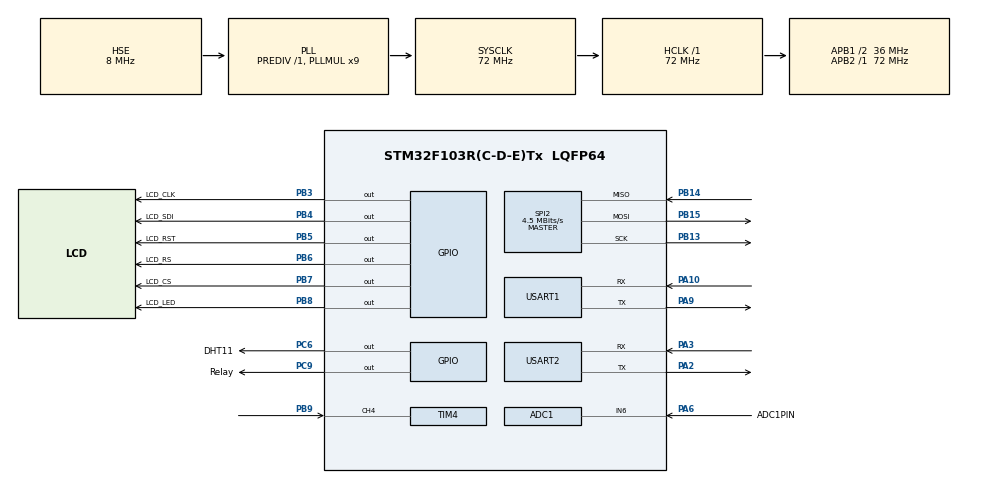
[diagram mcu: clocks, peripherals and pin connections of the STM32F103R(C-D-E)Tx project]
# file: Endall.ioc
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ADC1.Channel-0\#ChannelRegularConversion=ADC_CHANNEL_6
ADC1.NbrOfConversionFlag=1
ADC1.Rank-0\#ChannelRegularConversion=1
ADC1.SamplingTime-0\#ChannelRegularConversion=ADC_SAMPLETIME_1CYCLE_5
ADC1.master=1
Dma.Request0=USART2_RX
Dma.USART2_RX.0.Direction=DMA_PERIPH_TO_MEMORY
Dma.USART2_RX.0.Instance=DMA1_Channel6
Dma.USART2_RX.0.MemDataAlignment=DMA_MDATAALIGN_BYTE
Dma.USART2_RX.0.MemInc=DMA_MINC_ENABLE
Dma.USART2_RX.0.Mode=DMA_NORMAL
Dma.USART2_RX.0.PeriphDataAlignment=DMA_PDATAALIGN_BYTE
Dma.USART2_RX.0.PeriphInc=DMA_PINC_DISABLE
Dma.USART2_RX.0.Priority=DMA_PRIORITY_LOW
Mcu.Family=STM32F1
Mcu.Name=STM32F103R(C-D-E)Tx
Mcu.Package=LQFP64
NVIC.DMA1_Channel6_IRQn=true\:0\:0\:false\:false\:true\:false\:true\:true
NVIC.PriorityGroup=NVIC_PRIORITYGROUP_4
NVIC.USART2_IRQn=true\:0\:0\:false\:false\:true\:true\:true\:true
PA10.Mode=Asynchronous
PA10.Signal=USART1_RX
PA13.Mode=Serial_Wire
PA13.Signal=SYS_JTMS-SWDIO
PA14.Mode=Serial_Wire
PA14.Signal=SYS_JTCK-SWCLK
PA2.Mode=Asynchronous
PA2.Signal=USART2_TX
PA3.Mode=Asynchronous
PA3.Signal=USART2_RX
PA6.GPIO_Label=ADC1PIN
PA6.Signal=ADCx_IN6
PA9.Mode=Asynchronous
PA9.Signal=USART1_TX
PB13.Mode=Full_Duplex_Master
PB13.Signal=SPI2_SCK
PB14.Mode=Full_Duplex_Master
PB14.Signal=SPI2_MISO
PB15.Mode=Full_Duplex_Master
PB15.Signal=SPI2_MOSI
PB3.GPIO_Label=LCD_CLK
PB3.GPIO_PuPd=GPIO_PULLUP
PB3.GPIO_Speed=GPIO_SPEED_FREQ_HIGH
PB3.Signal=GPIO_Output
PB4.GPIO_Label=LCD_SDI
PB4.GPIO_PuPd=GPIO_PULLUP
PB4.GPIO_Speed=GPIO_SPEED_FREQ_HIGH
PB4.Signal=GPIO_Output
PB5.GPIO_Label=LCD_RST
PB5.GPIO_PuPd=GPIO_PULLUP
PB5.GPIO_Speed=GPIO_SPEED_FREQ_HIGH
PB5.Signal=GPIO_Output
PB6.GPIO_Label=LCD_RS
PB6.GPIO_PuPd=GPIO_PULLUP
PB6.GPIO_Speed=GPIO_SPEED_FREQ_HIGH
PB6.Signal=GPIO_Output
PB7.GPIO_Label=LCD_CS
PB7.GPIO_PuPd=GPIO_PULLUP
PB7.GPIO_Speed=GPIO_SPEED_FREQ_HIGH
PB7.Signal=GPIO_Output
PB8.GPIO_Label=LCD_LED
PB8.GPIO_PuPd=GPIO_PULLUP
PB8.GPIO_Speed=GPIO_SPEED_FREQ_HIGH
PB8.Signal=GPIO_Output
PB9.Signal=S_TIM4_CH4
PC6.GPIO_Label=DHT11
PC6.GPIO_PuPd=GPIO_PULLUP
PC6.GPIO_Speed=GPIO_SPEED_FREQ_HIGH
PC6.Signal=GPIO_Output
PC9.GPIO_Label=Relay
PC9.GPIO_PuPd=GPIO_PULLUP
PC9.GPIO_Speed=GPIO_SPEED_FREQ_HIGH
PC9.Signal=GPIO_Output
PD0-OSC_IN.Mode=HSE-External-Oscillator
PD0-OSC_IN.Signal=RCC_OSC_IN
PD1-OSC_OUT.Mode=HSE-External-Oscillator
PD1-OSC_OUT.Signal=RCC_OSC_OUT
ProjectManager.HeapSize=0x200
ProjectManager.StackSize=0x400
ProjectManager.TargetToolchain=MDK-ARM V5.32
RCC.ADCPresc=RCC_ADCPCLK2_DIV6
RCC.AHBFreq_Value=72000000
RCC.APB1CLKDivider=RCC_HCLK_DIV2
RCC.APB1Freq_Value=36000000
RCC.APB1TimFreq_Value=72000000
RCC.APB2Freq_Value=72000000
RCC.APB2TimFreq_Value=72000000
RCC.HCLKFreq_Value=72000000
RCC.PLLMUL=RCC_PLL_MUL9
RCC.PLLSourceVirtual=RCC_PLLSOURCE_HSE
RCC.SYSCLKFreq_VALUE=72000000
RCC.SYSCLKSource=RCC_SYSCLKSOURCE_PLLCLK
RCC.USBFreq_Value=72000000
SH.ADCx_IN6.0=ADC1_IN6,IN6
SH.S_TIM4_CH4.0=TIM4_CH4,Input_Capture4_from_TI4
SPI2.BaudRatePrescaler=SPI_BAUDRATEPRESCALER_8
SPI2.CalculateBaudRate=4.5 MBits/s
SPI2.Direction=SPI_DIRECTION_2LINES
SPI2.Mode=SPI_MODE_MASTER
SPI2.VirtualType=VM_MASTER
TIM4.Channel-Input_Capture4_from_TI4=TIM_CHANNEL_4
TIM4.Period=49999
TIM4.Prescaler=71
TIM7.Prescaler=71
USART1.VirtualMode=VM_ASYNC
USART2.VirtualMode=VM_ASYNC
VP_TIM4_VS_ClockSourceINT.Mode=Internal
VP_TIM7_VS_ClockSourceINT.Mode=Enable_Timer
board=custom

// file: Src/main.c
/* USER CODE BEGIN Header */
/**
  ******************************************************************************
  * @file           : main.c
  * @brief          : Main program body
  ******************************************************************************
  * @attention
  *
  * Copyright (c) 2023 STMicroelectronics.
  * All rights reserved.
  *
  * This software is licensed under terms that can be found in the LICENSE file
  * in the root directory of this software component.
  * If no LICENSE file comes with this software, it is provided AS-IS.
  *
  ******************************************************************************
  */
/* USER CODE END Header */
#include "main.h"
#include "adc.h"
#include "dma.h"
#include "spi.h"
#include "tim.h"
#include "usart.h"
#include "gpio.h"

/* USER CODE BEGIN Includes */
#include "stdio.h"
#include "dht11.h"
#include "QDTFT_demo.h"
#include "string.h"
#include "cJSON.h"
#include "mq135.h"
/* USER CODE END Includes */

/* USER CODE BEGIN PV */
char ss[1000]="";
char IDstr[20]="222154101127";
/* USER CODE END PV */

void SystemClock_Config(void);

/* USER CODE BEGIN 0 */
int fputc(int ch,FILE *f)
{
	HAL_UART_Transmit(&huart1,(uint8_t *) &ch,1,0xfff);
	return ch;
}

int buildJsonData(char *ss)//构建发布数据格式//
{
	char *cjson_print_buf;
	int len=0;
	cJSON *reported_obj;
	cJSON *device_obj;

	reported_obj=cJSON_CreateObject();
	device_obj=cJSON_CreateObject();

	cJSON_AddStringToObject(device_obj,"ID",IDstr);
	cJSON_AddNumberToObject(reported_obj,"temperature",tem);
	cJSON_AddNumberToObject(reported_obj,"humidity",hum);
	cJSON_AddNumberToObject(reported_obj,"Airquality",ad);
	cJSON_AddItemToObject(device_obj,"Devices",reported_obj);

	cjson_print_buf=cJSON_Print(device_obj);
	if(cjson_print_buf!=NULL)
	{
		len=snprintf(ss,2000,"%s",cjson_print_buf);
		cJSON_free(cjson_print_buf);
	}
	cJSON_Delete(device_obj);
	return len;
}

int AnalysisJsonData(char *ss)//解析数据//
{
	int ret=0;
	cJSON *receive_obj;//接收整体数据
	cJSON *device_obj;//接收主体项
	cJSON *item_obj;//接收子项
	char *str;
	receive_obj=cJSON_Parse((char *)ss);//转化为cjson格式//
	if(receive_obj==NULL)
	{
		return ret;
	}
	device_obj=cJSON_GetObjectItem(receive_obj,"ID");//获取ID这一项//
	if(strcmp(device_obj->valuestring,IDstr))//比较ID,不是则返回//
	{
		ret=1;
		return ret;
	}
	device_obj=cJSON_GetObjectItem(receive_obj,"Devices");//获取Devices这一项
	item_obj=device_obj->child;//指向Devices中的子项//

	while(item_obj)//分别比较Devices中的子项:LED/BEEP/MOTOR
	{
		str=item_obj->string;//获取子项中字符串//
		if(!strcmp(str,"LED1"))//判断是否为LED1
		{
		}
		item_obj=item_obj->next;//获取下一个子项
	}
	cJSON_Delete(receive_obj);//释放数据
	return ret;
}
/* USER CODE END 0 */

int main(void)
{

  /* MCU Configuration--------------------------------------------------------*/

  /* Reset of all peripherals, Initializes the Flash interface and the Systick. */
  HAL_Init();

  /* Configure the system clock */
  SystemClock_Config();

  /* Initialize all configured peripherals */
  MX_GPIO_Init();
  MX_DMA_Init();
  MX_USART1_UART_Init();
  MX_TIM7_Init();
  MX_SPI2_Init();
  MX_TIM4_Init();
  MX_USART2_UART_Init();
  MX_ADC1_Init();
  /* USER CODE BEGIN 2 */
	HAL_TIM_PWM_Start(&htim4,TIM_CHANNEL_2);//打开定时器4
	HAL_ADCEx_Calibration_Start(&hadc1);//打开ADC1，进行数模转化
	HAL_UARTEx_ReceiveToIdle_DMA(&huart2,Uart2_rx_buffer,BUF_SIZE);//&huart2
  /* USER CODE END 2 */

  /* Infinite loop */
  /* USER CODE BEGIN WHILE */
  while (1)
  {
//		HAL_GPIO_TogglePin(LED1_GPIO_Port,LED1_Pin);
		buildJsonData(ss);
//		printf("A1\r\n");
		HAL_UART_Transmit(&huart2,(uint8_t *)ss,strlen(ss),0xffff);	//将接收到的数据再发回上位机
		HAL_UART_Transmit(&huart1,(uint8_t *)ss,strlen(ss),0xffff);
//		printf("A2\r\n");
		memset(ss,0,1000);//清空数据

		QDTFT_Test_Demo();
		AirqualityCalculate();

		HAL_GPIO_TogglePin(Relay_GPIO_Port,Relay_Pin);
    /* USER CODE END WHILE */

  }
}

void SystemClock_Config(void)
{
  RCC_OscInitTypeDef RCC_OscInitStruct = {0};
  RCC_ClkInitTypeDef RCC_ClkInitStruct = {0};
  RCC_PeriphCLKInitTypeDef PeriphClkInit = {0};

  /** Initializes the RCC Oscillators according to the specified parameters
  * in the RCC_OscInitTypeDef structure.
  */
  RCC_OscInitStruct.OscillatorType = RCC_OSCILLATORTYPE_HSE;
  RCC_OscInitStruct.HSEState = RCC_HSE_ON;
  RCC_OscInitStruct.HSEPredivValue = RCC_HSE_PREDIV_DIV1;
  RCC_OscInitStruct.HSIState = RCC_HSI_ON;
  RCC_OscInitStruct.PLL.PLLState = RCC_PLL_ON;
  RCC_OscInitStruct.PLL.PLLSource = RCC_PLLSOURCE_HSE;
  RCC_OscInitStruct.PLL.PLLMUL = RCC_PLL_MUL9;
  if (HAL_RCC_OscConfig(&RCC_OscInitStruct) != HAL_OK)
  {
    Error_Handler();
  }

  /** Initializes the CPU, AHB and APB buses clocks
  */
  RCC_ClkInitStruct.ClockType = RCC_CLOCKTYPE_HCLK|RCC_CLOCKTYPE_SYSCLK
                              |RCC_CLOCKTYPE_PCLK1|RCC_CLOCKTYPE_PCLK2;
  RCC_ClkInitStruct.SYSCLKSource = RCC_SYSCLKSOURCE_PLLCLK;
  RCC_ClkInitStruct.AHBCLKDivider = RCC_SYSCLK_DIV1;
  RCC_ClkInitStruct.APB1CLKDivider = RCC_HCLK_DIV2;
  RCC_ClkInitStruct.APB2CLKDivider = RCC_HCLK_DIV1;

  if (HAL_RCC_ClockConfig(&RCC_ClkInitStruct, FLASH_LATENCY_2) != HAL_OK)
  {
    Error_Handler();
  }
  PeriphClkInit.PeriphClockSelection = RCC_PERIPHCLK_ADC;
  PeriphClkInit.AdcClockSelection = RCC_ADCPCLK2_DIV6;
  if (HAL_RCCEx_PeriphCLKConfig(&PeriphClkInit) != HAL_OK)
  {
    Error_Handler();
  }
}

void Error_Handler(void)
{
  __disable_irq();
  while (1)
  {
  }
}
